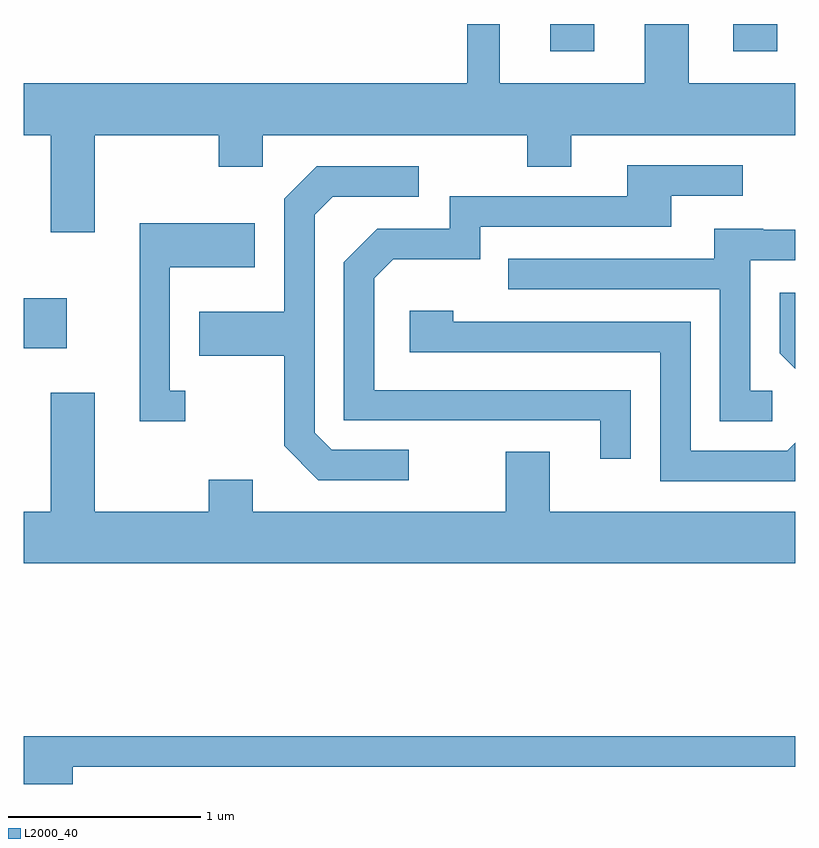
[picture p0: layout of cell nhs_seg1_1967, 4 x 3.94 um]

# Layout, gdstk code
import gdstk
lib = gdstk.Library(unit=1e-6, precision=1e-09)
def R(c, l, rs):  # rectangles x0, y0, x1, y1
    for r in rs: c.add(gdstk.rectangle(r[:2], r[2:], *l))
def P(c, l, *ps):  # polygons
    for p in ps: c.add(gdstk.Polygon(p, *l))
L2000_40 = (2000, 40)

nhs_seg1_1967 = lib.new_cell('nhs_seg1_1967')
R(nhs_seg1_1967, L2000_40, [(245.611,894.031,245.834,894.289), (248.341,895.571,248.569,895.712), (249.291,895.571,249.519,895.712)])
P(nhs_seg1_1967, L2000_40, [(245.979,895.136),(246.621,895.136),(246.621,894.971),(246.849,894.971),(246.849,895.136),(248.221,895.136),(248.221,894.971),(248.449,894.971),(248.449,895.136),(249.611,895.136),(249.611,895.404),(249.059,895.404),(249.059,895.712),(248.831,895.712),(248.831,895.404),(248.079,895.404),(248.079,895.712),(247.911,895.712),(247.911,895.404),(245.611,895.404),(245.611,895.136),(245.751,895.136),(245.751,894.631),(245.979,894.631)],
  [(248.759,893.814),(247.429,893.814),(247.429,894.394),(247.527,894.491),(247.979,894.491),(247.979,894.661),(248.969,894.661),(248.969,894.821),(249.338,894.821),(249.338,894.979),(248.741,894.979),(248.741,894.819),(247.821,894.819),(247.821,894.649),(247.444,894.649),(247.271,894.477),(247.271,893.656),(248.601,893.656),(248.601,893.458),(248.759,893.458)],
  [(247.608,893.504),(247.207,893.504),(247.119,893.592),(247.119,894.724),(247.212,894.816),(247.658,894.816),(247.658,894.974),(247.129,894.974),(246.961,894.807),(246.961,894.219),(246.521,894.219),(246.521,893.991),(246.961,893.991),(246.961,893.524),(247.139,893.346),(247.608,893.346)],
  [(246.448,893.809),(246.369,893.809),(246.369,894.451),(246.809,894.451),(246.809,894.679),(246.211,894.679),(246.211,893.651),(246.448,893.651)],
  [(249.493,893.809),(249.379,893.809),(249.379,894.486),(249.611,894.486),(249.611,894.644),(249.445,894.644),(249.445,894.649),(249.191,894.649),(249.191,894.494),(248.123,894.494),(248.123,894.336),(249.221,894.336),(249.221,893.651),(249.493,893.651)],
  [(249.611,894.318),(249.531,894.318),(249.531,894.004),(249.611,893.924)],
  [(249.611,893.541),(249.569,893.499),(249.069,893.499),(249.069,894.169),(247.839,894.169),(247.839,894.224),(247.611,894.224),(247.611,894.011),(248.911,894.011),(248.911,893.341),(249.611,893.341)],
  [(249.611,893.184),(248.339,893.184),(248.339,893.494),(248.111,893.494),(248.111,893.184),(246.799,893.184),(246.799,893.349),(246.571,893.349),(246.571,893.184),(245.979,893.184),(245.979,893.799),(245.751,893.799),(245.751,893.184),(245.611,893.184),(245.611,892.916),(249.611,892.916)],
  [(245.864,891.861),(249.611,891.861),(249.611,892.019),(245.611,892.019),(245.611,891.771),(245.864,891.771)])

lib.write_gds('nhs_seg1_1967.gds')
